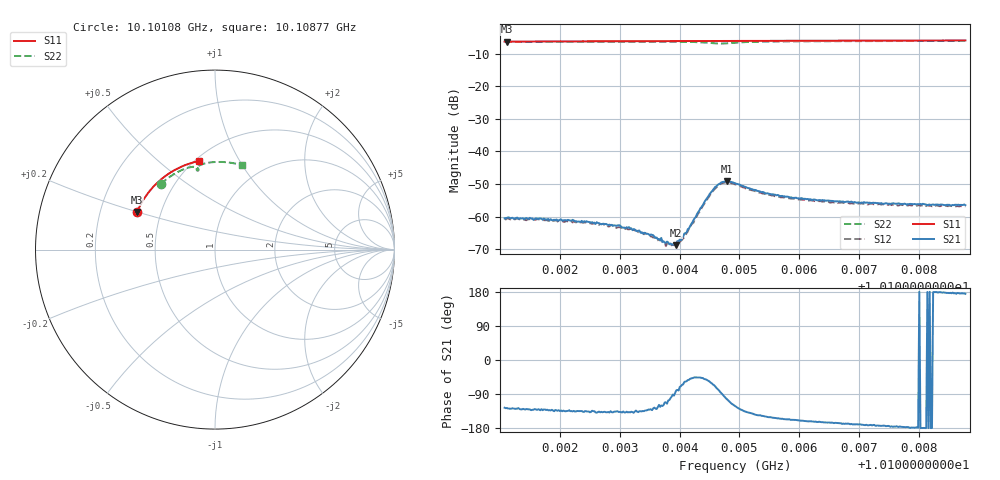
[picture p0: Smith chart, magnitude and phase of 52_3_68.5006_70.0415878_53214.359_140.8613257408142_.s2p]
#  HZ  S  RI  R  50.00
! Rohde & Schwarz Vector Network Analyzer
! Rohde-Schwarz,ZNB20-2Port,1311601062101988,3.16
! Created: UTC 3/20/2024, 5:06:02 PM
! freq[Hz]  re:S11  im:S11  re:S21  im:S21  re:S12  im:S12  re:S22  im:S22
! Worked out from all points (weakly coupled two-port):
!   401 points, 10.10108 GHz to 10.10877 GHz, reference 50 ohm
!   highest |S21| = -49.14 dB at 10.10479 GHz (marker M1); lowest = -68.7 dB at 10.10394 GHz (marker M2)
!   lowest |S11| = -6.3 dB at 10.10112 GHz (marker M3), VSWR 2.86, Z = 18.3 + j9.98 ohm
!   |S11| at or under -10 dB: nowhere
!   |S22| runs from -6.9 to -6.1 dB; largest |S21 - S12| = 0.00035
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1.0101078e10  -0.435 0.2076  -0.000555 -0.000766  -0.000499 -0.000784  -0.3024 0.3656
1.0101116e10  -0.434 0.2096  -0.000571 -0.000769  -0.000513 -0.000788  -0.3004 0.3674
1.0102367e10  -0.3992 0.2774  -0.000609 -0.000611  -0.000529 -0.000627  -0.2357 0.4162
1.0102713e10  -0.3876 0.2951  -0.000577 -0.000521  -0.000512 -0.00058  -0.2159 0.4277
1.0102963e10  -0.3787 0.3074  -0.000525 -0.000515  -0.000463 -0.000506  -0.2011 0.4355
1.0103214e10  -0.3695 0.3194  -0.000458 -0.00042  -0.000414 -0.000464  -0.1861 0.4426
1.0103521e10  -0.358 0.334  -0.000344 -0.000408  -0.000287 -0.000404  -0.1664 0.4507
1.0103656e10  -0.3525 0.3401  -0.000218 -0.000401  -0.000226 -0.000381  -0.1574 0.4538
1.010381e10  -0.3464 0.3471  -0.000118 -0.000386  -8.87e-05 -0.000381  -0.1466 0.4571
1.0103868e10  -0.3439 0.3497  -4.27e-05 -0.000374  -1.44e-06 -0.000364  -0.1424 0.4582
1.0103945e10  -0.3408 0.3533  6.24e-05 -0.000362  8.43e-05 -0.000376  -0.1369 0.4595
1.0104022e10  -0.3375 0.3565  0.000154 -0.000407  0.000201 -0.000376  -0.131 0.4604
1.010408e10  -0.335 0.359  0.000293 -0.000465  0.000266 -0.000399  -0.1265 0.4611
1.0104407e10  -0.3207 0.3728  0.00104 -0.00123  0.0011 -0.00107  -0.0991 0.4566
1.0104561e10  -0.314 0.3792  0.0011 -0.00234  0.00128 -0.00213  -0.0915 0.4465
1.0104676e10  -0.3088 0.3836  0.000345 -0.00321  0.000617 -0.00307  -0.0947 0.4397
1.0104791e10  -0.3037 0.3881  -0.000821 -0.00339  -0.000514 -0.0033  -0.1011 0.4423
1.0104926e10  -0.2974 0.3934  -0.00171 -0.00278  -0.00141 -0.0028  -0.1016 0.4525
1.0105465e10  -0.2716 0.4134  -0.00199 -0.00113  -0.00178 -0.00126  -0.067 0.4772
1.0106215e10  -0.2334 0.4381  -0.00172 -0.000549  -0.00161 -0.000694  -0.0157 0.4869
1.0107505e10  -0.1632 0.4719  -0.00157 -0.000149  -0.00151 -0.000286  0.0687 0.4861
1.0108775e10  -0.0895 0.4935  -0.00149 0.000139  -0.00144 -5.07e-05  0.1485 0.4707
